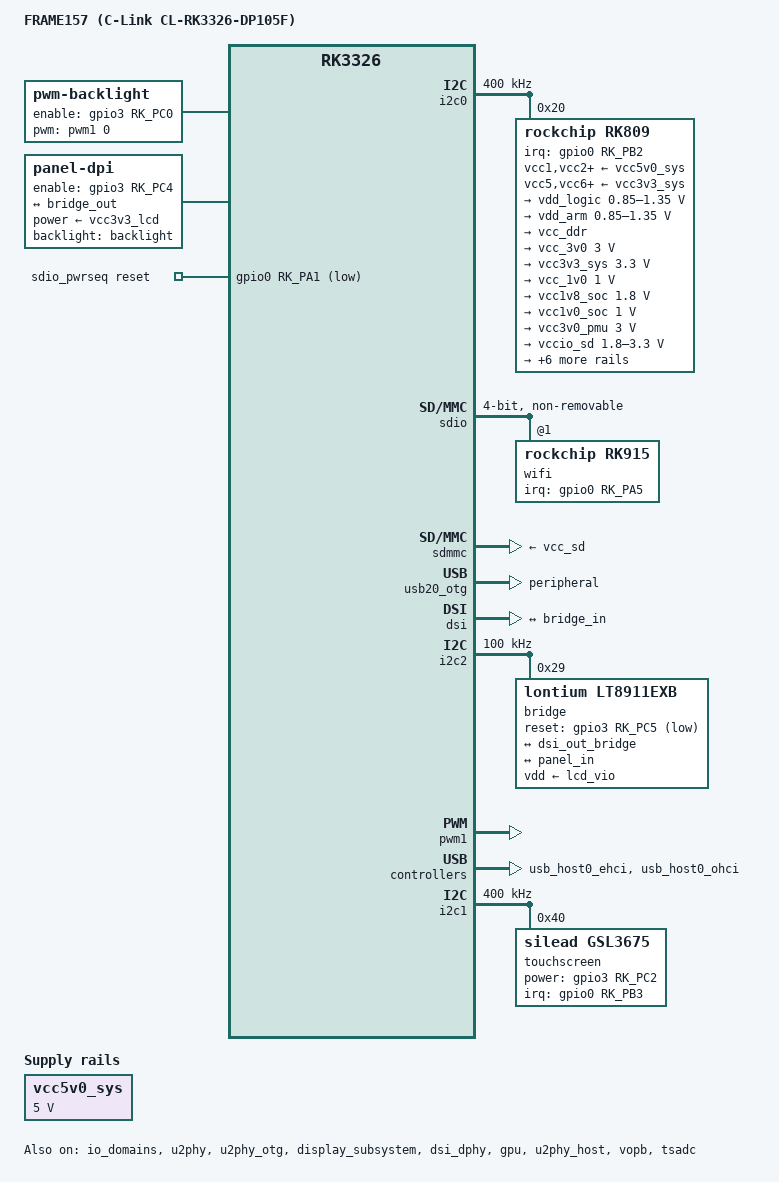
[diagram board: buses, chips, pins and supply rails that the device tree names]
// SPDX-License-Identifier: (GPL-2.0+ OR MIT)

/dts-v1/;

#include <dt-bindings/gpio/gpio.h>
#include <dt-bindings/interrupt-controller/irq.h>
#include <dt-bindings/pinctrl/rockchip.h>
#include "rk3326.dtsi"

/ {
	model = "FRAME157 (C-Link CL-RK3326-DP105F)";
	compatible = "rockchip,rk3326-evb-ai-va-v11", "rockchip,rk3326";

	aliases {
		mmc0 = &sdmmc;
		mmc1 = &emmc;
	};

	/* Same region and zone sizes as the stock DT, so stock Android can read
	 * this kernel's console log from /sys/fs/pstore after a warm reboot.
	 */
	reserved-memory {
		#address-cells = <2>;
		#size-cells = <2>;
		ranges;

		/*
		 * Secure-world RAM used by the stock TF-A/OP-TEE (trust partition).
		 * Stock U-Boot leaves 0x08400000-0x0a200000 out of the memory
		 * node; mainline U-Boot reports all RAM, so it must be reserved
		 * here. Using it gives bus errors (systemd "Caught <BUS>"), SD
		 * DMA "I/O errors" and hard hangs (2026-10-16 boot logs).
		 */
		secure-memory@8400000 {
			reg = <0x0 0x08400000 0x0 0x01e00000>;
			no-map;
		};

		ramoops@110000 {
			compatible = "ramoops";
			reg = <0x0 0x110000 0x0 0xf0000>;
			record-size = <0x20000>;
			console-size = <0x80000>;
			pmsg-size = <0x50000>;
		};
	};

	/* Values from the stock DT backlight node: PWM1 at 1 kHz, enable GPIO3_C0. */
	backlight: backlight {
		compatible = "pwm-backlight";
		pwms = <&pwm1 0 1000000 0>;
		enable-gpios = <&gpio3 RK_PC0 GPIO_ACTIVE_HIGH>;
		brightness-levels = <0 255>;
		num-interpolated-steps = <255>;
		default-brightness-level = <200>;
	};

	/*
	 * 15.6" 1920x1080 eDP panel behind the LT8911EXB. Timing is what the
	 * stock vendor driver programs into the bridge (lontium,* properties in
	 * the stock DT): 128 MHz, 2230x1140 total, 50.3 Hz.
	 */
	panel: panel {
		compatible = "panel-dpi";
		power-supply = <&vcc3v3_lcd>;
		enable-gpios = <&gpio3 RK_PC4 GPIO_ACTIVE_HIGH>;
		backlight = <&backlight>;
		width-mm = <344>;
		height-mm = <194>;

		panel-timing {
			clock-frequency = <128000000>;
			hactive = <1920>;
			vactive = <1080>;
			hfront-porch = <140>;
			hback-porch = <138>;
			hsync-len = <32>;
			vfront-porch = <20>;
			vback-porch = <34>;
			vsync-len = <6>;
			hsync-active = <0>;
			vsync-active = <0>;
			de-active = <1>;
			pixelclk-active = <0>;
		};

		port {
			panel_in: endpoint {
				remote-endpoint = <&bridge_out>;
			};
		};
	};

	sdio_pwrseq: sdio-pwrseq {
		compatible = "mmc-pwrseq-simple";
		clocks = <&rk809 1>;
		clock-names = "ext_clock";
		pinctrl-names = "default";
		pinctrl-0 = <&wifi_enable_h>;
		post-power-on-delay-ms = <100>;
		/* GPIO0_A1 is the RK915 power enable, active high. */
		reset-gpios = <&gpio0 RK_PA1 GPIO_ACTIVE_LOW>;
	};

	vcc5v0_sys: regulator-vcc5v0-sys {
		compatible = "regulator-fixed";
		regulator-name = "vcc5v0_sys";
		regulator-always-on;
		regulator-boot-on;
		regulator-min-microvolt = <5000000>;
		regulator-max-microvolt = <5000000>;
	};
};

&cpu0 {
	cpu-supply = <&vdd_arm>;
};

&cpu1 {
	cpu-supply = <&vdd_arm>;
};

&cpu2 {
	cpu-supply = <&vdd_arm>;
};

&cpu3 {
	cpu-supply = <&vdd_arm>;
};

/* Internal 32 GB eMMC (stock Android). Enabled for read tests only so far. */
&emmc {
	bus-width = <8>;
	cap-mmc-highspeed;
	max-frequency = <52000000>;
	non-removable;
	status = "disabled";
};

&i2c0 {
	clock-frequency = <400000>;
	i2c-scl-rising-time-ns = <280>;
	i2c-scl-falling-time-ns = <16>;
	status = "okay";

	rk809: pmic@20 {
		compatible = "rockchip,rk809";
		reg = <0x20>;
		interrupt-parent = <&gpio0>;
		interrupts = <RK_PB2 IRQ_TYPE_LEVEL_LOW>;
		pinctrl-names = "default";
		pinctrl-0 = <&pmic_int>;
		#clock-cells = <1>;
		clock-output-names = "rk808-clkout1", "rk808-clkout2";

		vcc1-supply = <&vcc5v0_sys>;
		vcc2-supply = <&vcc5v0_sys>;
		vcc3-supply = <&vcc5v0_sys>;
		vcc4-supply = <&vcc5v0_sys>;
		vcc5-supply = <&vcc3v3_sys>;
		vcc6-supply = <&vcc3v3_sys>;
		vcc7-supply = <&vcc3v3_sys>;
		vcc8-supply = <&vcc3v3_sys>;
		vcc9-supply = <&vcc5v0_sys>;

		regulators {
			vdd_logic: DCDC_REG1 {
				regulator-name = "vdd_logic";
				regulator-min-microvolt = <850000>;
				regulator-max-microvolt = <1350000>;
				regulator-ramp-delay = <6001>;
				regulator-always-on;
				regulator-boot-on;
			};

			vdd_arm: DCDC_REG2 {
				regulator-name = "vdd_arm";
				regulator-min-microvolt = <850000>;
				regulator-max-microvolt = <1350000>;
				regulator-ramp-delay = <6001>;
				regulator-always-on;
				regulator-boot-on;
			};

			vcc_ddr: DCDC_REG3 {
				regulator-name = "vcc_ddr";
				regulator-always-on;
				regulator-boot-on;
			};

			vcc_3v0: DCDC_REG4 {
				regulator-name = "vcc_3v0";
				regulator-min-microvolt = <3000000>;
				regulator-max-microvolt = <3000000>;
				regulator-always-on;
				regulator-boot-on;
			};

			vcc3v3_sys: DCDC_REG5 {
				regulator-name = "vcc3v3_sys";
				regulator-min-microvolt = <3300000>;
				regulator-max-microvolt = <3300000>;
				regulator-always-on;
				regulator-boot-on;
			};

			vcc_1v0: LDO_REG1 {
				regulator-name = "vcc_1v0";
				regulator-min-microvolt = <1000000>;
				regulator-max-microvolt = <1000000>;
				regulator-always-on;
				regulator-boot-on;
			};

			vcc1v8_soc: LDO_REG2 {
				regulator-name = "vcc1v8_soc";
				regulator-min-microvolt = <1800000>;
				regulator-max-microvolt = <1800000>;
				regulator-always-on;
				regulator-boot-on;
			};

			vcc1v0_soc: LDO_REG3 {
				regulator-name = "vcc1v0_soc";
				regulator-min-microvolt = <1000000>;
				regulator-max-microvolt = <1000000>;
				regulator-always-on;
				regulator-boot-on;
			};

			vcc3v0_pmu: LDO_REG4 {
				regulator-name = "vcc3v0_pmu";
				regulator-min-microvolt = <3000000>;
				regulator-max-microvolt = <3000000>;
				regulator-always-on;
				regulator-boot-on;
			};

			vccio_sd: LDO_REG5 {
				regulator-name = "vccio_sd";
				regulator-min-microvolt = <1800000>;
				regulator-max-microvolt = <3300000>;
				regulator-always-on;
				regulator-boot-on;
			};

			vcc_sd: LDO_REG6 {
				regulator-name = "vcc_sd";
				regulator-min-microvolt = <3300000>;
				regulator-max-microvolt = <3300000>;
				regulator-always-on;
				regulator-boot-on;
			};

			vcc2v8_dvp: LDO_REG7 {
				regulator-name = "vcc2v8_dvp";
				regulator-min-microvolt = <2800000>;
				regulator-max-microvolt = <2800000>;
				regulator-always-on;
				regulator-boot-on;
			};

			vcc1v8_dvp: LDO_REG8 {
				regulator-name = "vcc1v8_dvp";
				regulator-min-microvolt = <1800000>;
				regulator-max-microvolt = <1800000>;
				regulator-always-on;
				regulator-boot-on;
			};

			lcd_vio: LDO_REG9 {
				regulator-name = "lcd_vio";
				regulator-min-microvolt = <1850000>;
				regulator-max-microvolt = <1850000>;
				regulator-always-on;
				regulator-boot-on;
			};

			vcc5v0_host: SWITCH_REG1 {
				regulator-name = "vcc5v0_host";
			};

			vcc3v3_lcd: SWITCH_REG2 {
				regulator-name = "vcc3v3_lcd";
				regulator-boot-on;
			};
		};
	};
};

&io_domains {
	vccio1-supply = <&vcc_3v0>;
	vccio2-supply = <&vccio_sd>;
	vccio3-supply = <&vcc1v8_dvp>;
	vccio4-supply = <&vcc_3v0>;
	vccio5-supply = <&vcc_3v0>;
	status = "okay";
};

&pinctrl {
	sdio-pwrseq {
		wifi_enable_h: wifi-enable-h {
			rockchip,pins = <0 RK_PA1 RK_FUNC_GPIO &pcfg_pull_none>;
		};

		wifi_host_wake_l: wifi-host-wake-l {
			rockchip,pins = <0 RK_PA5 RK_FUNC_GPIO &pcfg_pull_down>;
		};
	};

	pmic {
		pmic_int: pmic-int {
			rockchip,pins = <0 RK_PB2 RK_FUNC_GPIO &pcfg_pull_up>;
		};
	};
};

&pmu_io_domains {
	pmuio1-supply = <&vcc3v0_pmu>;
	pmuio2-supply = <&vcc3v0_pmu>;
	status = "okay";
};

/* RK915 Wi-Fi (stock "wireless-wlan": poweren GPIO0_A1, host wake GPIO0_A5,
 * 32 kHz from the RK809). Needs the out-of-tree rk915 driver.
 */
&sdio {
	#address-cells = <1>;
	#size-cells = <0>;
	bus-width = <4>;
	cap-sd-highspeed;
	cap-sdio-irq;
	keep-power-in-suspend;
	max-frequency = <50000000>;
	mmc-pwrseq = <&sdio_pwrseq>;
	no-mmc;
	no-sd;
	non-removable;
	status = "okay";

	wifi@1 {
		compatible = "rockchip,rk915";
		reg = <1>;
		interrupt-names = "host-wake";
		interrupt-parent = <&gpio0>;
		interrupts = <RK_PA5 IRQ_TYPE_LEVEL_HIGH>;
		pinctrl-names = "default";
		pinctrl-0 = <&wifi_host_wake_l>;
	};
};

&sdmmc {
	/* The old 64 GB card gave read errors under Linux at 50, 25 and
	 * 12.5 MHz (2026-10-16); 25 MHz default speed with a new card.
	 */
	max-frequency = <25000000>;
	no-sdio;
	vmmc-supply = <&vcc_sd>;
	vqmmc-supply = <&vccio_sd>;
	status = "okay";
};

&u2phy {
	status = "okay";
};

&u2phy_otg {
	status = "okay";
};

&usb20_otg {
	dr_mode = "peripheral";
	status = "okay";
};

&display_subsystem {
	status = "okay";
};

&dsi {
	status = "okay";

	ports {
		dsi_out: port@1 {
			reg = <1>;

			dsi_out_bridge: endpoint {
				remote-endpoint = <&bridge_in>;
			};
		};
	};
};

&dsi_dphy {
	status = "okay";
};

&gpu {
	mali-supply = <&vdd_logic>;
	status = "okay";
};

/* Lontium LT8911EXB DSI-to-eDP bridge, as in the stock DT (i2c2 at 100 kHz). */
&i2c2 {
	clock-frequency = <100000>;
	status = "okay";

	bridge@29 {
		compatible = "lontium,lt8911exb";
		reg = <0x29>;
		reset-gpios = <&gpio3 RK_PC5 GPIO_ACTIVE_LOW>;
		vdd-supply = <&lcd_vio>;
		lontium,edp-lanes = <2>;

		ports {
			#address-cells = <1>;
			#size-cells = <0>;

			port@0 {
				reg = <0>;

				bridge_in: endpoint {
					remote-endpoint = <&dsi_out_bridge>;
					data-lanes = <1 2 3 4>;
				};
			};

			port@1 {
				reg = <1>;

				bridge_out: endpoint {
					remote-endpoint = <&panel_in>;
				};
			};
		};
	};
};

&pwm1 {
	status = "okay";
};

/* USB-A host port (keyboard, Wi-Fi dongle). */
&u2phy_host {
	phy-supply = <&vcc5v0_host>;
	status = "okay";
};

&usb_host0_ehci {
	status = "okay";
};

&usb_host0_ohci {
	status = "okay";
};

&vopb {
	status = "okay";
};

&vopb_mmu {
	status = "okay";
};

/* Touch: Silead GSL3676, firmware extracted from the stock kernel
 * (firmware/silead/README.md). Stock: IRQ GPIO0_B3, reset GPIO3_C2.
 */
&i2c1 {
	clock-frequency = <400000>;
	i2c-scl-falling-time-ns = <16>;
	i2c-scl-rising-time-ns = <275>;
	status = "okay";

	touchscreen@40 {
		compatible = "silead,gsl3675";
		reg = <0x40>;
		interrupt-parent = <&gpio0>;
		interrupts = <RK_PB3 IRQ_TYPE_EDGE_FALLING>;
		power-gpios = <&gpio3 RK_PC2 GPIO_ACTIVE_HIGH>;
		firmware-name = "gsl3676-frame157.fw";
		/* Calibrated with on-screen targets at 10%/50%/90% (2026-10-16):
		 * raw X runs right to left over 0-1784, raw Y bottom to top over
		 * 0-1160. The stock driver's X/Y swap does not apply to mainline
		 * silead.
		 */
		touchscreen-size-x = <1784>;
		touchscreen-size-y = <1160>;
		touchscreen-inverted-x;
		touchscreen-inverted-y;
		silead,max-fingers = <10>;
	};

};

/* CPU/GPU temperature: enables the SoC thermal zones (passive throttling from
 * 70 C). Hardware shutdown at 120 C resets through the CRU, as stock (mode 0).
 */
&tsadc {
	rockchip,hw-tshut-mode = <0>;
	status = "okay";
};
